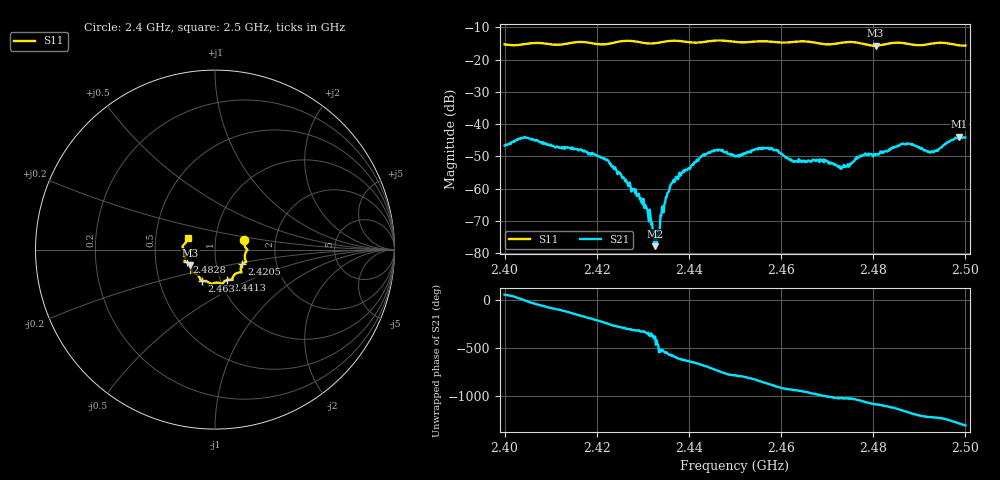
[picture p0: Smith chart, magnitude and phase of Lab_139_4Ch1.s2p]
# Hz S RI R 50
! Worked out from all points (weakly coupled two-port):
!   601 points, 2.4 GHz to 2.5 GHz, reference 50 ohm
!   highest |S21| = -43.94 dB at 2.4987 GHz (marker M1); lowest = -77.8 dB at 2.4327 GHz (marker M2)
!   lowest |S11| = -15.7 dB at 2.4805 GHz (marker M3), VSWR 1.39, Z = 37.3 - j6.69 ohm
!   |S11| at or under -10 dB: start of sweep to end of sweep
!   S12 and S22 are empty: the file has one direction only
!   S11 on the Smith chart (normalised r, x): 2.4 GHz: 1.38, +0.15; 2.4205 GHz: 1.34, -0.22; 2.4413 GHz: 1.08, -0.38; 2.463 GHz: 0.82, -0.29; 2.4828 GHz: 0.72, -0.10; 2.5 GHz: 0.73, +0.10
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2.4e9  0.163 0.0526  0.00257 0.00389  0 0  0 0
2.404667e9  0.1744 0.00581  0.00605 -0.0011  0 0  0 0
2.416667e9  0.1734 -0.0696  -0.00386 -0.00086  0 0  0 0
2.4205e9  0.1522 -0.0807  -0.00247 0.00192  0 0  0 0
2.429667e9  0.1317 -0.1277  0.000524 0.000327  0 0  0 0
2.432667e9  0.1037 -0.1455  0.000122 -4.13e-05  0 0  0 0
2.433333e9  0.1003 -0.1512  -5.08e-05 -0.000181  0 0  0 0
2.436167e9  0.0978 -0.1683  -0.000914 0.000746  0 0  0 0
2.441333e9  0.0675 -0.1698  0.000913 0.00238  0 0  0 0
2.445667e9  0.0424 -0.1918  0.00389 -0.000202  0 0  0 0
2.45e9  0.0248 -0.1857  0.00147 -0.00286  0 0  0 0
2.456667e9  -0.0238 -0.19  -0.00323 -0.00271  0 0  0 0
2.463e9  -0.072 -0.1736  -0.00217 0.00145  0 0  0 0
2.466667e9  -0.0816 -0.1673  -0.000972 0.00248  0 0  0 0
2.473e9  -0.126 -0.1301  0.00094 0.00178  0 0  0 0
2.4805e9  -0.1384 -0.0872  0.00331 -2.83e-06  0 0  0 0
2.482833e9  -0.1587 -0.0702  0.00357 -0.00138  0 0  0 0
2.483333e9  -0.1626 -0.0683  0.00344 -0.0017  0 0  0 0
2.487667e9  -0.1668 -0.0504  0.000427 -0.00492  0 0  0 0
2.492667e9  -0.1761 0.00734  -0.00266 -0.00272  0 0  0 0
2.498667e9  -0.159 0.0455  -0.00598 0.00216  0 0  0 0
2.5e9  -0.152 0.0639  -0.00467 0.00408  0 0  0 0
